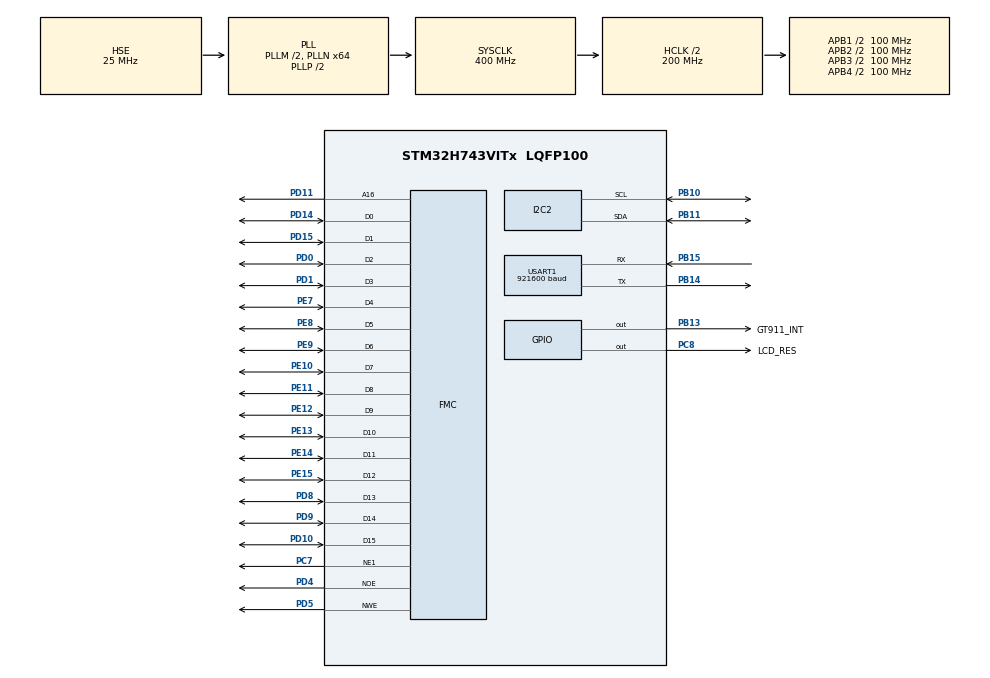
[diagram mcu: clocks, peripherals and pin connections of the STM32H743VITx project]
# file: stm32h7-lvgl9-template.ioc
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CORTEX_M7.AccessPermission_Spec=MPU_REGION_FULL_ACCESS
CORTEX_M7.BaseAddress_Spec=0x60000000
CORTEX_M7.CPU_DCache=Enabled
CORTEX_M7.CPU_ICache=Enabled
CORTEX_M7.DisableExec_Spec=MPU_INSTRUCTION_ACCESS_ENABLE
CORTEX_M7.IsBufferable_Spec=MPU_ACCESS_BUFFERABLE
CORTEX_M7.IsCacheable_Spec=MPU_ACCESS_NOT_CACHEABLE
CORTEX_M7.IsShareable_Spec=MPU_ACCESS_NOT_SHAREABLE
CORTEX_M7.Size_Spec=MPU_REGION_SIZE_256MB
CORTEX_M7.SubRegionDisable_Spec=0x0
CORTEX_M7.TypeExtField_Spec=MPU_TEX_LEVEL0
CORTEX_M7.default_mode_Activation=1
FMC.AddressSetupTime1=10
FMC.BusTurnAroundDuration1=5
FMC.DataSetupTime1=15
FMC.ExtendedAddressSetupTime1=2
FMC.ExtendedBusTurnAroundDuration1=0
FMC.ExtendedDataSetupTime1=10
FMC.ExtendedMode1=FMC_EXTENDED_MODE_ENABLE
I2C2.Timing=0x10C0ECFF
Mcu.Family=STM32H7
Mcu.Name=STM32H743VITx
Mcu.Package=LQFP100
NVIC.PriorityGroup=NVIC_PRIORITYGROUP_4
NVIC.USART1_IRQn=true\:0\:0\:false\:false\:true\:true\:true\:true
PA13\ (JTMS/SWDIO).Mode=Serial_Wire
PA13\ (JTMS/SWDIO).Signal=DEBUG_JTMS-SWDIO
PA14\ (JTCK/SWCLK).Mode=Serial_Wire
PA14\ (JTCK/SWCLK).Signal=DEBUG_JTCK-SWCLK
PB10.Mode=I2C
PB10.Signal=I2C2_SCL
PB11.Mode=I2C
PB11.Signal=I2C2_SDA
PB13.GPIO_Label=GT911_INT
PB13.GPIO_PuPd=GPIO_PULLUP
PB13.GPIO_Speed=GPIO_SPEED_FREQ_VERY_HIGH
PB13.PinState=GPIO_PIN_SET
PB13.Signal=GPIO_Output
PB14.GPIO_Speed=GPIO_SPEED_FREQ_VERY_HIGH
PB14.Mode=Asynchronous
PB14.Signal=USART1_TX
PB15.GPIO_Speed=GPIO_SPEED_FREQ_VERY_HIGH
PB15.Mode=Asynchronous
PB15.Signal=USART1_RX
PC14-OSC32_IN\ (OSC32_IN).Mode=LSE-External-Oscillator
PC14-OSC32_IN\ (OSC32_IN).Signal=RCC_OSC32_IN
PC15-OSC32_OUT\ (OSC32_OUT).Mode=LSE-External-Oscillator
PC15-OSC32_OUT\ (OSC32_OUT).Signal=RCC_OSC32_OUT
PC7.GPIO_Speed_High_Default=GPIO_SPEED_FREQ_VERY_HIGH
PC7.Mode=NorPsramChipSelect1_1
PC7.Signal=FMC_NE1
PC8.GPIO_Label=LCD_RES
PC8.GPIO_PuPd=GPIO_PULLUP
PC8.GPIO_Speed=GPIO_SPEED_FREQ_VERY_HIGH
PC8.PinState=GPIO_PIN_SET
PC8.Signal=GPIO_Output
PD0.GPIO_Speed_High_Default=GPIO_SPEED_FREQ_VERY_HIGH
PD0.Signal=FMC_D2_DA2
PD1.GPIO_Speed_High_Default=GPIO_SPEED_FREQ_VERY_HIGH
PD1.Signal=FMC_D3_DA3
PD10.GPIO_Speed_High_Default=GPIO_SPEED_FREQ_VERY_HIGH
PD10.Signal=FMC_D15_DA15
PD11.GPIO_Speed_High_Default=GPIO_SPEED_FREQ_VERY_HIGH
PD11.Signal=FMC_A16_CLE
PD14.GPIO_Speed_High_Default=GPIO_SPEED_FREQ_VERY_HIGH
PD14.Signal=FMC_D0_DA0
PD15.GPIO_Speed_High_Default=GPIO_SPEED_FREQ_VERY_HIGH
PD15.Signal=FMC_D1_DA1
PD4.GPIO_Speed_High_Default=GPIO_SPEED_FREQ_VERY_HIGH
PD4.Signal=FMC_NOE
PD5.GPIO_Speed_High_Default=GPIO_SPEED_FREQ_VERY_HIGH
PD5.Signal=FMC_NWE
PD8.GPIO_Speed_High_Default=GPIO_SPEED_FREQ_VERY_HIGH
PD8.Signal=FMC_D13_DA13
PD9.GPIO_Speed_High_Default=GPIO_SPEED_FREQ_VERY_HIGH
PD9.Signal=FMC_D14_DA14
PE10.GPIO_Speed_High_Default=GPIO_SPEED_FREQ_VERY_HIGH
PE10.Signal=FMC_D7_DA7
PE11.GPIO_Speed_High_Default=GPIO_SPEED_FREQ_VERY_HIGH
PE11.Signal=FMC_D8_DA8
PE12.GPIO_Speed_High_Default=GPIO_SPEED_FREQ_VERY_HIGH
PE12.Signal=FMC_D9_DA9
PE13.GPIO_Speed_High_Default=GPIO_SPEED_FREQ_VERY_HIGH
PE13.Signal=FMC_D10_DA10
PE14.GPIO_Speed_High_Default=GPIO_SPEED_FREQ_VERY_HIGH
PE14.Signal=FMC_D11_DA11
PE15.GPIO_Speed_High_Default=GPIO_SPEED_FREQ_VERY_HIGH
PE15.Signal=FMC_D12_DA12
PE7.GPIO_Speed_High_Default=GPIO_SPEED_FREQ_VERY_HIGH
PE7.Signal=FMC_D4_DA4
PE8.GPIO_Speed_High_Default=GPIO_SPEED_FREQ_VERY_HIGH
PE8.Signal=FMC_D5_DA5
PE9.GPIO_Speed_High_Default=GPIO_SPEED_FREQ_VERY_HIGH
PE9.Signal=FMC_D6_DA6
PH0-OSC_IN\ (PH0).Mode=HSE-External-Oscillator
PH0-OSC_IN\ (PH0).Signal=RCC_OSC_IN
PH1-OSC_OUT\ (PH1).Mode=HSE-External-Oscillator
PH1-OSC_OUT\ (PH1).Signal=RCC_OSC_OUT
ProjectManager.HeapSize=0x2000
ProjectManager.StackSize=0x2000
ProjectManager.TargetToolchain=MDK-ARM V5.32
RCC.ADCFreq_Value=50390625
RCC.APB1Freq_Value=100000000
RCC.APB2Freq_Value=100000000
RCC.APB3Freq_Value=100000000
RCC.APB4Freq_Value=100000000
RCC.CortexFreq_Value=400000000
RCC.D1PPRE=RCC_APB3_DIV2
RCC.D2PPRE1=RCC_APB1_DIV2
RCC.D2PPRE2=RCC_APB2_DIV2
RCC.D3PPRE=RCC_APB4_DIV2
RCC.DIVM1=2
RCC.DIVN1=64
RCC.HCLKFreq_Value=200000000
RCC.HPRE=RCC_HCLK_DIV2
RCC.PLL2FRACN=0
RCC.PLL3FRACN=0
RCC.PLLFRACN=0
RCC.PLLSourceVirtual=RCC_PLLSOURCE_HSE
RCC.SYSCLKFreq_VALUE=400000000
RCC.SYSCLKSource=RCC_SYSCLKSOURCE_PLLCLK
RCC.USBFreq_Value=400000000
SH.FMC_A16_CLE.0=FMC_A16,A16_1
SH.FMC_D0_DA0.0=FMC_D0,16b-d1
SH.FMC_D10_DA10.0=FMC_D10,16b-d1
SH.FMC_D11_DA11.0=FMC_D11,16b-d1
SH.FMC_D12_DA12.0=FMC_D12,16b-d1
SH.FMC_D13_DA13.0=FMC_D13,16b-d1
SH.FMC_D14_DA14.0=FMC_D14,16b-d1
SH.FMC_D15_DA15.0=FMC_D15,16b-d1
SH.FMC_D1_DA1.0=FMC_D1,16b-d1
SH.FMC_D2_DA2.0=FMC_D2,16b-d1
SH.FMC_D3_DA3.0=FMC_D3,16b-d1
SH.FMC_D4_DA4.0=FMC_D4,16b-d1
SH.FMC_D5_DA5.0=FMC_D5,16b-d1
SH.FMC_D6_DA6.0=FMC_D6,16b-d1
SH.FMC_D7_DA7.0=FMC_D7,16b-d1
SH.FMC_D8_DA8.0=FMC_D8,16b-d1
SH.FMC_D9_DA9.0=FMC_D9,16b-d1
SH.FMC_NOE.0=FMC_NOE,Lcd1
SH.FMC_NWE.0=FMC_NWE,Lcd1
USART1.BaudRate=921600
USART1.VirtualMode-Asynchronous=VM_ASYNC
VP_MEMORYMAP_VS_MEMORYMAP.Mode=CurAppReg
board=custom

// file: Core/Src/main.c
/* USER CODE BEGIN Header */
/**
 ******************************************************************************
 * @file           : main.c
 * @brief          : Main program body
 ******************************************************************************
 * @attention
 *
 * Copyright (c) 2026 STMicroelectronics.
 * All rights reserved.
 *
 * This software is licensed under terms that can be found in the LICENSE file
 * in the root directory of this software component.
 * If no LICENSE file comes with this software, it is provided AS-IS.
 *
 ******************************************************************************
 */
/* USER CODE END Header */
#include "main.h"
#include "i2c.h"
#include "usart.h"
#include "gpio.h"
#include "fmc.h"

/* USER CODE BEGIN Includes */

#include "bsp_dwt.h"
#include "bsp_lcd.h"
#include "bsp_gt911.h"

#include "lvgl.h"
#include "lv_port_disp.h"
#include "lv_port_indev.h"
#include "lv_demo_widgets.h"

/* USER CODE END Includes */

void SystemClock_Config(void);
static void MPU_Config(void);

/* USER CODE BEGIN 0 */
/* 事件回调函数 */
static void btn_event_cb(lv_event_t * e)
{
    lv_event_code_t code = lv_event_get_code(e);

    if(code == LV_EVENT_CLICKED) {
        /* 定义一个颜色数组 */
        static const lv_palette_t colors[] = {
            LV_PALETTE_RED,
            LV_PALETTE_GREEN,
            LV_PALETTE_BLUE,
            LV_PALETTE_AMBER,
            LV_PALETTE_PURPLE,
            LV_PALETTE_CYAN
        };

        /* 使用静态变量记录当前的颜色索引 */
        static uint8_t color_idx = 0;

        /* 更新索引，确保循环切换 */
        color_idx = (color_idx + 1) % (sizeof(colors) / sizeof(colors[0]));

        /* 获取当前活跃屏幕并设置背景色 */
        lv_obj_t * screen = lv_screen_active();
        lv_obj_set_style_bg_color(screen, lv_palette_main(colors[color_idx]), LV_PART_MAIN);

        /* 确保背景不透明度 */
        lv_obj_set_style_bg_opa(screen, LV_OPA_COVER, LV_PART_MAIN);
    }
}

void lv_example_background_color_change(void)
{
    /* 创建按钮并居中 */
    lv_obj_t * btn = lv_button_create(lv_screen_active());
    lv_obj_set_size(btn, 150, 60);
    lv_obj_center(btn);

    /* 添加文字 */
    lv_obj_t * label = lv_label_create(btn);
    lv_label_set_text(label, "Hello LVGL");
    lv_obj_center(label);

    /* 绑定点击事件 */
    lv_obj_add_event_cb(btn, btn_event_cb, LV_EVENT_CLICKED, NULL);
}
/* USER CODE END 0 */

int main(void)
{

  /* USER CODE BEGIN 1 */
    uint32_t time_till_next = 0;

  /* USER CODE END 1 */

  /* MPU Configuration--------------------------------------------------------*/
  MPU_Config();

  /* Enable the CPU Cache */

  /* Enable I-Cache---------------------------------------------------------*/
  SCB_EnableICache();

  /* Enable D-Cache---------------------------------------------------------*/
  SCB_EnableDCache();

  /* MCU Configuration--------------------------------------------------------*/

  /* Reset of all peripherals, Initializes the Flash interface and the Systick. */
  HAL_Init();

  /* Configure the system clock */
  SystemClock_Config();

  /* Initialize all configured peripherals */
  MX_GPIO_Init();
  MX_USART1_UART_Init();
  MX_FMC_Init();
  MX_I2C2_Init();
  /* USER CODE BEGIN 2 */

  /* BSP 层模块初始化 */
  BSP_DWT_Init();
  BSP_GT911_Init();
  BSP_LCD_Init();
  BSP_GT911_BindLCD();

  /* LVGL 初始化 */
  lv_init();            /* 初始化 LVGL 核心库 */
  lv_port_disp_init();  /* 初始化显示接口 */
  lv_port_indev_init(); /* 初始化触摸接口 */

  /* LVGL Demo */
#if LV_USE_DEMO_WIDGETS
    lv_demo_benchmark();
//    lv_demo_widgets();
#endif

// lv_example_background_color_change();

  /* USER CODE END 2 */

  /* Infinite loop */
  while (1)
  {

    /* USER CODE BEGIN 3 */

    time_till_next = lv_timer_handler();

    /* time_till_next 是 LVGL 建议的下次执行时间，通常在 1-30ms 之间 */
    if (time_till_next < 5)
    {
        time_till_next = 5;
    }

    BSP_DWT_DelayMs(time_till_next);
  }
  /* USER CODE END 3 */
}

void SystemClock_Config(void)
{
  RCC_OscInitTypeDef RCC_OscInitStruct = {0};
  RCC_ClkInitTypeDef RCC_ClkInitStruct = {0};

  /** Supply configuration update enable
  */
  HAL_PWREx_ConfigSupply(PWR_LDO_SUPPLY);

  /** Configure the main internal regulator output voltage
  */
  __HAL_PWR_VOLTAGESCALING_CONFIG(PWR_REGULATOR_VOLTAGE_SCALE1);

  while(!__HAL_PWR_GET_FLAG(PWR_FLAG_VOSRDY)) {}

  /** Initializes the RCC Oscillators according to the specified parameters
  * in the RCC_OscInitTypeDef structure.
  */
  RCC_OscInitStruct.OscillatorType = RCC_OSCILLATORTYPE_HSE;
  RCC_OscInitStruct.HSEState = RCC_HSE_ON;
  RCC_OscInitStruct.PLL.PLLState = RCC_PLL_ON;
  RCC_OscInitStruct.PLL.PLLSource = RCC_PLLSOURCE_HSE;
  RCC_OscInitStruct.PLL.PLLM = 2;
  RCC_OscInitStruct.PLL.PLLN = 64;
  RCC_OscInitStruct.PLL.PLLP = 2;
  RCC_OscInitStruct.PLL.PLLQ = 2;
  RCC_OscInitStruct.PLL.PLLR = 2;
  RCC_OscInitStruct.PLL.PLLRGE = RCC_PLL1VCIRANGE_3;
  RCC_OscInitStruct.PLL.PLLVCOSEL = RCC_PLL1VCOWIDE;
  RCC_OscInitStruct.PLL.PLLFRACN = 0;
  if (HAL_RCC_OscConfig(&RCC_OscInitStruct) != HAL_OK)
  {
    Error_Handler();
  }

  /** Initializes the CPU, AHB and APB buses clocks
  */
  RCC_ClkInitStruct.ClockType = RCC_CLOCKTYPE_HCLK|RCC_CLOCKTYPE_SYSCLK
                              |RCC_CLOCKTYPE_PCLK1|RCC_CLOCKTYPE_PCLK2
                              |RCC_CLOCKTYPE_D3PCLK1|RCC_CLOCKTYPE_D1PCLK1;
  RCC_ClkInitStruct.SYSCLKSource = RCC_SYSCLKSOURCE_PLLCLK;
  RCC_ClkInitStruct.SYSCLKDivider = RCC_SYSCLK_DIV1;
  RCC_ClkInitStruct.AHBCLKDivider = RCC_HCLK_DIV2;
  RCC_ClkInitStruct.APB3CLKDivider = RCC_APB3_DIV2;
  RCC_ClkInitStruct.APB1CLKDivider = RCC_APB1_DIV2;
  RCC_ClkInitStruct.APB2CLKDivider = RCC_APB2_DIV2;
  RCC_ClkInitStruct.APB4CLKDivider = RCC_APB4_DIV2;

  if (HAL_RCC_ClockConfig(&RCC_ClkInitStruct, FLASH_LATENCY_2) != HAL_OK)
  {
    Error_Handler();
  }
}

 /* MPU Configuration */

void MPU_Config(void)
{
  MPU_Region_InitTypeDef MPU_InitStruct = {0};

  /* Disables the MPU */
  HAL_MPU_Disable();

  /** Initializes and configures the Region and the memory to be protected
  */
  MPU_InitStruct.Enable = MPU_REGION_ENABLE;
  MPU_InitStruct.Number = MPU_REGION_NUMBER0;
  MPU_InitStruct.BaseAddress = 0x60000000;
  MPU_InitStruct.Size = MPU_REGION_SIZE_256MB;
  MPU_InitStruct.SubRegionDisable = 0x0;
  MPU_InitStruct.TypeExtField = MPU_TEX_LEVEL0;
  MPU_InitStruct.AccessPermission = MPU_REGION_FULL_ACCESS;
  MPU_InitStruct.DisableExec = MPU_INSTRUCTION_ACCESS_ENABLE;
  MPU_InitStruct.IsShareable = MPU_ACCESS_NOT_SHAREABLE;
  MPU_InitStruct.IsCacheable = MPU_ACCESS_NOT_CACHEABLE;
  MPU_InitStruct.IsBufferable = MPU_ACCESS_BUFFERABLE;

  HAL_MPU_ConfigRegion(&MPU_InitStruct);
  /* Enables the MPU */
  HAL_MPU_Enable(MPU_PRIVILEGED_DEFAULT);

}

void Error_Handler(void)
{
  __disable_irq();
  while (1)
  {
  }
}
